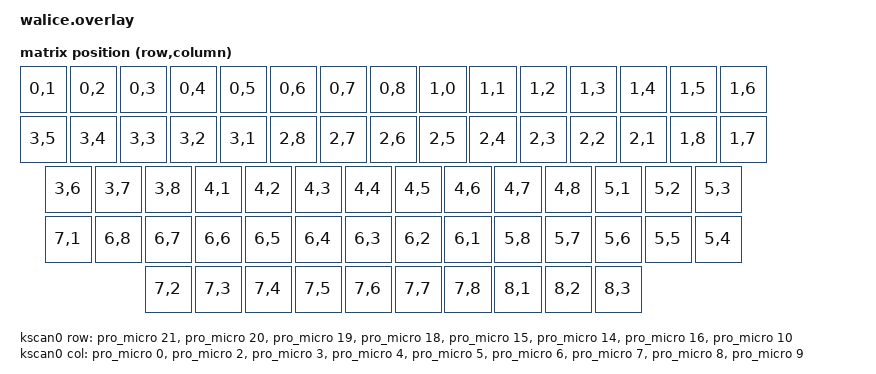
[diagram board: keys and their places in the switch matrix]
/*
 * This program is free software:
 * you can redistribute it and/or modify it under the terms of the GNU General Public Licenses
 * as published by the Free Software Foundation;
 * either version 3 of the License, or (at your option) any later version.
 *
 * This program is distributed in the hope that it will be useful,but WITHOUT ANY WARRANTY;
 * without even the implied warranty of MERCHANTABILITY or FITNESS FOR A PARTICULAR PURPOSE.
 * See the GNU General Public License for more details.
 *
 * You should have received a copy of the GNU General Public License along with this program.
 * If not, see https://www.gnu.org/licenses/.
 *
 * author: snooze (schizophrenical@pm.me)
 */

#include <dt-bindings/zmk/matrix_transform.h>

/ {
    chosen {
        zmk,kscan = &kscan0;
	zmk,matrix_transform = &default_transform
    };

    kscan0: kscan_0 {
        compatible = "zmk, kscan-gpio-matrix";
	label = "KSCAN";
	diode-direction = "col2row";
	
	// 8x9 GPIO matrix for efficiency.
	// see: https://zmk.dev/docs/development/new-shield#optional-matrix-transform
	row-gpios
	    = <&pro_micro 21 (GPIO_ACTIVE_HIGH | GPIO_PULL_DOWN)>
	    , <&pro_micro 20 (GPIO_ACTIVE_HIGH | GPIO_PULL_DOWN)>
	    , <&pro_micro 19 (GPIO_ACTIVE_HIGH | GPIO_PULL_DOWN)>
	    , <&pro_micro 18 (GPIO_ACTIVE_HIGH | GPIO_PULL_DOWN)>
	    , <&pro_micro 15 (GPIO_ACTIVE_HIGH | GPIO_PULL_DOWN)>
	    , <&pro_micro 14 (GPIO_ACTIVE_HIGH | GPIO_PULL_DOWN)>
	    , <&pro_micro 16 (GPIO_ACTIVE_HIGH | GPIO_PULL_DOWN)>
	    , <&pro_micro 10 (GPIO_ACTIVE_HIGH | GPIO_PULL_DOWN)>
	    ;
	col-gpios
	    = <&pro_micro 0 GPIO_ACTIVE_HIGH>
	    , <&pro_micro 2 GPIO_ACTIVE_HIGH>
	    , <&pro_micro 3 GPIO_ACTIVE_HIGH>
	    , <&pro_micro 4 GPIO_ACTIVE_HIGH>
	    , <&pro_micro 5 GPIO_ACTIVE_HIGH>
	    , <&pro_micro 6 GPIO_ACTIVE_HIGH>
	    , <&pro_micro 7 GPIO_ACTIVE_HIGH>
	    , <&pro_micro 8 GPIO_ACTIVE_HIGH>
	    , <&pro_micro 9 GPIO_ACTIVE_HIGH>
            ;
    };

    default_transform: keymap_transform_0 {
        compatible = "zmk,matrix-transform";
	rows = <8>;
	columns = <9>;
//     ----- --- --- --- --- --- ---            --- --- --- --- --- --- -------        ------
//    |  `  | 1 | 2 | 3 | 4 | 5 | 6 |          | 7 | 8 | 9 | 0 | - | = |  DEL  |      |  DEL |
//     ----- --- --- --- --- --- ---            --- --- --- --- --- --- -------        ------
//    ----- --- --- --- --- ---              --- --- --- --- --- --- --- ---           ------
//   | TAB | Q | W | E | R | T |            | Y | U | I | O | P | [ | ] | | |         | PGUP |
//    ----- --- --- --- --- ---              --- --- --- --- --- --- --- ---           ------
//   ------- --- --- --- --- ---               --- --- --- --- --- --- --------        ------
//  |  ESC  | A | S | D | F | G |             | H | J | K | L | ; | ' | RETURN |      | PGDN |
//   ------- --- --- --- --- ---               --- --- --- --- --- --- --------        ------
//  ---------- --- --- --- --- ---          --- --- --- --- --- --- -------    -------
// |   SHFT   | Z | X | C | V | B |        | B | N | M | , | . | / | RSHFT |  |  UP  |
//  ---------- --- --- --- --- ---          --- --- --- --- --- --- -------    ------
//  ------         ----- ------- -----      --------- ------ -----      ------ ------ -------
// | CTRL |       | ALT | SPACE | CMD |    |  BKSPC  | RALT | MO |     | LEFT | DOWN | RIGHT |
//  ------         ----- ------- -----      --------- ------ ----       ------ ------ -------
        map = <
   RC(0,1) RC(0,2) RC(0,3) RC(0,4) RC(0,5) RC(0,6) RC(0,7)   RC(0,8) RC(1,0) RC(1,1) RC(1,2) RC(1,3) RC(1,4) RC(1,5)        RC(1,6)
  RC(3,5) RC(3,4) RC(3,3) RC(3,2) RC(3,1) RC(2,8)          RC(2,7) RC(2,6) RC(2,5) RC(2,4) RC(2,3) RC(2,2) RC(2,1) RC(1,8)  RC(1,7)
 RC(3,6) RC(3,7) RC(3,8) RC(4,1) RC(4,2) RC(4,3)             RC(4,4) RC(4,5) RC(4,6) RC(4,7) RC(4,8) RC(5,1) RC(5,2)        RC(5,3)
RC(7,1) RC(6,8) RC(6,7) RC(6,6) RC(6,5) RC(6,4)            RC(6,3) RC(6,2) RC(6,1) RC(5,8) RC(5,7) RC(5,6) RC(5,5)  RC(5,4)
RC(7,2)          RC(7,3)    RC(7,4)    RC(7,5)             RC(7,6) RC(7,7) RC(7,8)                          RC(8,1) RC(8,2) RC(8,3)
	>;
    };
};

// vi: ft=devicetree
